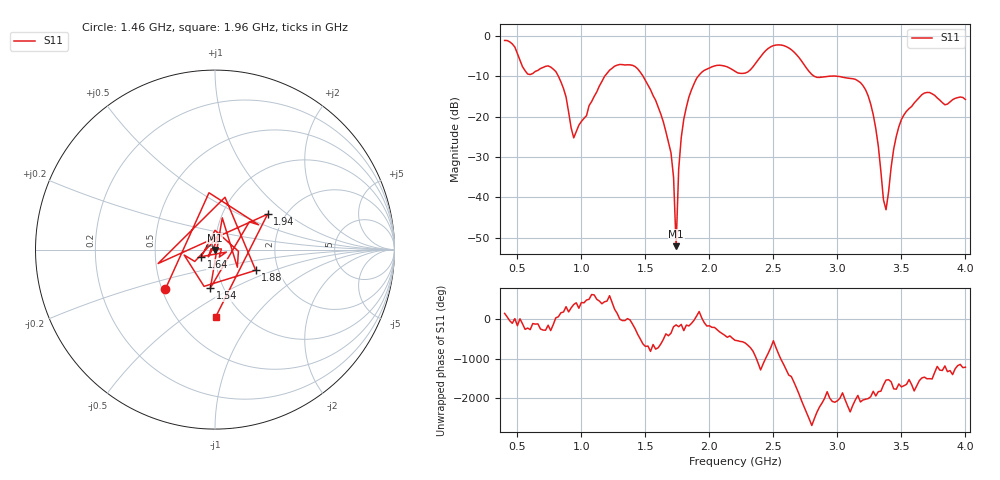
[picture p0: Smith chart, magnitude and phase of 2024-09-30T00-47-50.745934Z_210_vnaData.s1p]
!Created with skrf (http://scikit-rf.org).
# Hz S RI R 50.0
!freq ReS11 ImS11
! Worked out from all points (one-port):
!   181 points, 400 MHz to 4 GHz, reference 50 ohm
!   lowest |S11| = -52.1 dB at 1.74 GHz (marker M1), VSWR 1.00, Z = 49.8 - j0.143 ohm
!   |S11| at or under -10 dB: 819.8 MHz to 1.183 GHz (363 MHz wide, 36.3 % of centre); 1.481 GHz to 1.913 GHz (432.3 MHz wide, 25.5 % of centre); 2.99 GHz to end of sweep (the widest 3 of 4)
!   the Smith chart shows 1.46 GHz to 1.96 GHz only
!   S11 on the Smith chart (normalised r, x): 1.46 GHz: 0.52, -0.26; 1.54 GHz: 0.87, -0.39; 1.64 GHz: 0.86, -0.07; 1.88 GHz: 1.53, -0.38; 1.94 GHz: 1.62, +0.73; 1.96 GHz: 0.76, -0.66
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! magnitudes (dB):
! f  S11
! 400 MHz  -1.2
! 580 MHz  -9.5
! 740 MHz  -7.5
! 860 MHz  -13.1
! 940 MHz  -25.3
! 1.18 GHz  -10.1
! 1.3 GHz  -7.1
! 1.46 GHz  -9.0
! 1.54 GHz  -13.4
! 1.64 GHz  -21.3
! 1.72 GHz  -35.0
! 1.74 GHz  -52.1
! 1.76 GHz  -33.0
! 1.8 GHz  -20.6
! 1.88 GHz  -11.9
! 1.94 GHz  -9.0
! 1.96 GHz  -8.6
! 2.2 GHz  -8.8
! 2.5 GHz  -2.5
! 2.66 GHz  -4.0
! 2.82 GHz  -10.1
! 3.1 GHz  -10.6
! 3.26 GHz  -16.9
! 3.38 GHz  -43.1
! 3.46 GHz  -24.9
! 3.56 GHz  -18.0
! 3.7 GHz  -14.0
! 4 GHz  -15.8
